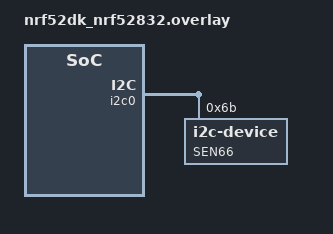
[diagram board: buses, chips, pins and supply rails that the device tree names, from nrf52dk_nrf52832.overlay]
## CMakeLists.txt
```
cmake_minimum_required(VERSION 3.20.0)
find_package(Zephyr REQUIRED HINTS $ENV{ZEPHYR_BASE})

project(SEN66)

target_sources(app PRIVATE 
    src/main.c

)
```

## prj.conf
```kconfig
# --- Existing Configs ---
CONFIG_PRINTK=y
CONFIG_I2C=y
CONFIG_SERIAL=y
CONFIG_UART_ASYNC_API=y
CONFIG_CBPRINTF_FP_SUPPORT=y
CONFIG_REBOOT=y

# --- THE FIX: Massive Memory Expansion ---
CONFIG_MAIN_STACK_SIZE=2048
CONFIG_SYSTEM_WORKQUEUE_STACK_SIZE=2048
CONFIG_HEAP_MEM_POOL_SIZE=2048
```

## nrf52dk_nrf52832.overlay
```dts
&i2c0 {
    status = "okay";
    pinctrl-0 = <&i2c0_default>;
    pinctrl-1 = <&i2c0_sleep>;
    pinctrl-names = "default", "sleep";
    sen66: sen66@6b {
        compatible = "i2c-device";
        reg = <0x6b>;
        label = "SEN66";
    };
};


/* for node */

// &pinctrl {
// 	uart0_default: uart0_default {
// 		group1 {
// 			psels = <NRF_PSEL(UART_TX, 0, 24)>, //6   for nrf52dk5832 / 5840
// 				<NRF_PSEL(UART_RX, 0, 23)>,   //8	  for nrf52dk5832
// 				<NRF_PSEL(UART_RTS, 0, 5)>,
// 				<NRF_PSEL(UART_CTS, 0, 7)>;
// 		};
// 	};

// 	uart0_sleep: uart0_sleep {
// 		group1 {
// 			psels = <NRF_PSEL(UART_TX, 0, 24)>,    //6
// 				<NRF_PSEL(UART_RX, 0, 23)>,        //8
// 				<NRF_PSEL(UART_RTS, 0, 5)>,
// 				<NRF_PSEL(UART_CTS, 0, 7)>;
// 			low-power-enable;
// 		};
// 	};
// 	i2c0_default: i2c0_default {
// 		group1 {
// 			psels = <NRF_PSEL(TWIM_SDA, 0, 26)>,  
// 				<NRF_PSEL(TWIM_SCL, 0, 25)>;      
// 		};
// 	};

// 	i2c0_sleep: i2c0_sleep {
// 		group1 {
// 			psels = <NRF_PSEL(TWIM_SDA, 0, 26)>,   
// 				<NRF_PSEL(TWIM_SCL, 0, 25)>;        
// 			low-power-enable;
// 		};
// 	};
// };
```

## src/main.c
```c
#include <zephyr/kernel.h>
#include <zephyr/drivers/i2c.h>
#include <zephyr/sys/printk.h>

/* --- Configuration & Definitions --- */
#define I2C_NODE DT_NODELABEL(sen66)
static const struct i2c_dt_spec dev_i2c = I2C_DT_SPEC_GET(I2C_NODE);

#define SEN66_ADDR 0x6B
#define CMD_START_MEAS 0x0021
#define CMD_READ_VALUES 0x0300
#define CMD_RESET 0xD304

/* --- Function Definitions --- */

void send_command(uint16_t cmd)
{
    uint8_t buf[2];
    buf[0] = (cmd >> 8);
    buf[1] = cmd & 0xFF;

    i2c_write_dt(&dev_i2c, buf, sizeof(buf));
}

void read_data(uint16_t *output, uint8_t data_size)
{
    uint8_t data_array[27];

    i2c_read_dt(&dev_i2c, data_array, sizeof(data_array));

    for (uint8_t i = 0; i < data_size; i++)
    {
        uint8_t msb = data_array[i * 3];
        uint8_t lsb = data_array[i * 3 + 1];
        output[i] = (msb << 8) | lsb;
    }
}

void fan_cleaning()
{

    send_command(0x0104);
    k_msleep(10);

    send_command(0x5607);
    k_msleep(10);

    send_command(CMD_START_MEAS);
    k_msleep(10);

    /* ---Status --- */
    for (int i = 0; i <= 100; i++)
    {
        printk("\rWaiting for Fan cleaning: %3d%%", i);
        k_msleep(80);
    }
    printk("\n");

    printk("Fan cleaning done, resumed measurements\n");
}

int main(void)
{
    if (!device_is_ready(dev_i2c.bus))
    {
        printk("I2C bus %s is not ready!\n", dev_i2c.bus->name);
        return -1;
    }

    printk("\n=== Sensor Status ===\n");
    printk("Sensor is working\n");
    printk("Fan cleaning will take 10 seconds...\n");

    /* --- Initialization --- */
    send_command(CMD_RESET);
    k_msleep(10);

    send_command(CMD_START_MEAS);
    k_msleep(10);

    fan_cleaning();

    uint16_t output[9];
    uint32_t last_read_time = 0;

    /* --- Burn initial stale data --- */
    send_command(CMD_READ_VALUES);
    k_msleep(20);
    read_data(output, 9);
    last_read_time = k_uptime_get_32();

    int64_t last_clean_time = k_uptime_get_32();

    while (1)
    {
        /* --- Daily fan cleaning --- */
        if ((k_uptime_get_32() - last_clean_time) >= (24 * 60 * 60 * 1000))
        {
            fan_cleaning();
            last_clean_time = k_uptime_get_32();
        }

        /* --- Ensure ≥1 second polling interval --- */
        uint32_t now = k_uptime_get_32();
        if (now - last_read_time < 1000)
        {
            k_msleep(1000 - (now - last_read_time));
        }

        /* --- Read sensor data --- */
        send_command(CMD_READ_VALUES);
        k_msleep(20);
        read_data(output, 9);
        last_read_time = k_uptime_get_32();

        /* --- Convert Data --- */
        float pm1 = output[0] / 10.0f;
        float pm25 = output[1] / 10.0f;
        float pm4 = output[2] / 10.0f;
        float pm10 = output[3] / 10.0f;
        float rh = (int16_t)output[4] / 100.0f;
        float temp = (int16_t)output[5] / 200.0f;
        int16_t voc = (int16_t)output[6] / 10;
        int16_t nox = (int16_t)output[7] / 10;
        uint16_t CO2 = output[8];

        /* --- Print Data --- */
        printk("Uptime: %d s\n", k_uptime_get_32() / 1000);
        printk("PM1.0: %.2f | PM2.5: %.2f µg/m³\n", pm1, pm25);
        printk("RH: %.2f %% | Temp: %.2f °C\n", rh, temp);
        printk("VOC: %d | NOx: %d\n", voc, nox);
        printk("CO2: %d ppm\n\n", CO2);
    }

    return 0;
}
```
